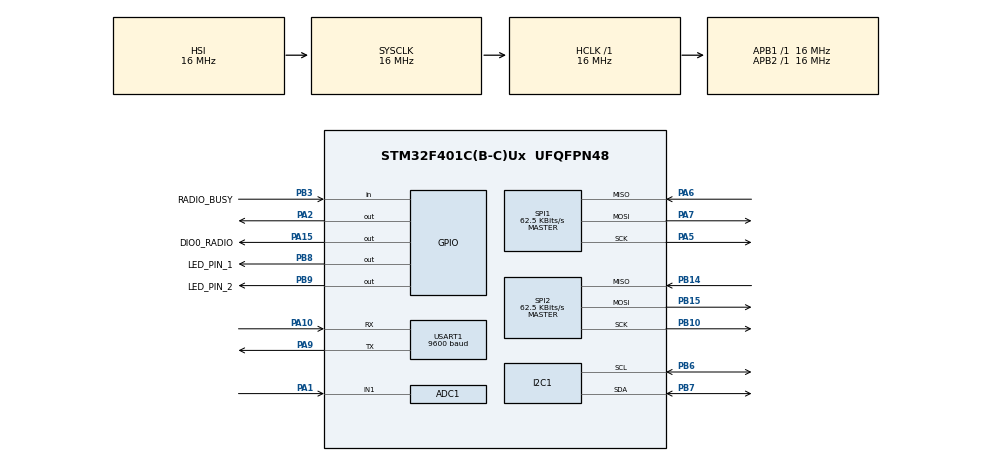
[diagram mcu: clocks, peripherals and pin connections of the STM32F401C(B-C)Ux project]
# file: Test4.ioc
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ADC1.Channel-0\#ChannelRegularConversion=ADC_CHANNEL_1
ADC1.NbrOfConversionFlag=1
ADC1.Rank-0\#ChannelRegularConversion=1
ADC1.SamplingTime-0\#ChannelRegularConversion=ADC_SAMPLETIME_3CYCLES
ADC1.master=1
Mcu.Family=STM32F4
Mcu.Name=STM32F401C(B-C)Ux
Mcu.Package=UFQFPN48
NVIC.PriorityGroup=NVIC_PRIORITYGROUP_4
PA1.Signal=ADCx_IN1
PA10.Mode=Asynchronous
PA10.Signal=USART1_RX
PA15.GPIO_Label=DIO0_RADIO
PA15.Signal=GPIO_Output
PA2.GPIO_ModeDefaultOutputPP=GPIO_MODE_OUTPUT_OD
PA2.GPIO_PuPd=GPIO_NOPULL
PA2.PinState=GPIO_PIN_SET
PA2.Signal=GPIO_Output
PA5.Mode=Full_Duplex_Master
PA5.Signal=SPI1_SCK
PA6.Mode=Full_Duplex_Master
PA6.Signal=SPI1_MISO
PA7.Mode=Full_Duplex_Master
PA7.Signal=SPI1_MOSI
PA9.Mode=Asynchronous
PA9.Signal=USART1_TX
PB10.Mode=Full_Duplex_Master
PB10.Signal=SPI2_SCK
PB14.Mode=Full_Duplex_Master
PB14.Signal=SPI2_MISO
PB15.Mode=Full_Duplex_Master
PB15.Signal=SPI2_MOSI
PB3.GPIO_Label=RADIO_BUSY
PB3.Signal=GPIO_Input
PB6.Mode=I2C
PB6.Signal=I2C1_SCL
PB7.Mode=I2C
PB7.Signal=I2C1_SDA
PB8.GPIO_Label=LED_PIN_1
PB8.Signal=GPIO_Output
PB9.GPIO_Label=LED_PIN_2
PB9.Signal=GPIO_Output
PH0\ -\ OSC_IN.Mode=HSE-External-Oscillator
PH0\ -\ OSC_IN.Signal=RCC_OSC_IN
PH1\ -\ OSC_OUT.Mode=HSE-External-Oscillator
PH1\ -\ OSC_OUT.Signal=RCC_OSC_OUT
ProjectManager.HeapSize=0x400
ProjectManager.StackSize=0x800
ProjectManager.TargetToolchain=STM32CubeIDE
RCC.AHBFreq_Value=16000000
RCC.APB1Freq_Value=16000000
RCC.APB2Freq_Value=16000000
RCC.CortexFreq_Value=16000000
RCC.HSE_VALUE=25000000
RCC.HSI_VALUE=16000000
RCC.LSE_VALUE=32768
RCC.SYSCLKFreq_VALUE=16000000
RCC.VCOOutputFreq_Value=192000000
SH.ADCx_IN1.0=ADC1_IN1,IN1
SPI1.BaudRatePrescaler=SPI_BAUDRATEPRESCALER_256
SPI1.CalculateBaudRate=62.5 KBits/s
SPI1.Direction=SPI_DIRECTION_2LINES
SPI1.Mode=SPI_MODE_MASTER
SPI1.VirtualType=VM_MASTER
SPI2.BaudRatePrescaler=SPI_BAUDRATEPRESCALER_256
SPI2.CalculateBaudRate=62.5 KBits/s
SPI2.Direction=SPI_DIRECTION_2LINES
SPI2.Mode=SPI_MODE_MASTER
SPI2.VirtualType=VM_MASTER
USART1.BaudRate=9600
USART1.VirtualMode=VM_ASYNC
VP_FATFS_VS_Generic.Mode=User_defined
board=custom

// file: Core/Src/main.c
/* USER CODE BEGIN Header */
/**
  ******************************************************************************
  * @file           : main.c
  * @brief          : Main program body
  ******************************************************************************
  */
/* USER CODE END Header */
#include "main.h"
#include "adc.h"
#include "fatfs.h"
#include "i2c.h"
#include "spi.h"
#include "usart.h"
#include "gpio.h"

/* USER CODE BEGIN Includes */
#include "serial_print.h"
#include "mcp23017.h"
#include "sd_mcp23017.h"
#include <stdio.h>
#include <string.h>
/* USER CODE END Includes */

void SystemClock_Config(void);

/* USER CODE BEGIN 0 */
void Dump_Data_CSV(void) {
    FIL file;
    FRESULT res;
    uint8_t buffer[128]; // Буфер для порционного чтения
    UINT bytesRead;

    Serial_Printf(&huart1, "\r\n--- SD DUMP START ---\r\n");

    // Открываем файл строго для чтения (FA_READ)[cite: 5]
    res = f_open(&file, "0:/data.csv", FA_READ);
    if (res == FR_OK) {
        do {
            res = f_read(&file, buffer, sizeof(buffer), &bytesRead);
            if (res == FR_OK && bytesRead > 0) {
                // Прямая передача сырых байтов в UART, защита от багов со строковыми терминаторами[cite: 5]
                HAL_UART_Transmit(&huart1, buffer, bytesRead, HAL_MAX_DELAY);
            }
        } while (res == FR_OK && bytesRead > 0);

        f_close(&file);
        Serial_Printf(&huart1, "\r\n--- SD DUMP END ---\r\n");
    } else {
        Serial_Printf(&huart1, "\r\nSD DUMP ERROR: %d\r\n", res);
    }
}
/* USER CODE END 0 */

int main(void)
{

  /* MCU Configuration--------------------------------------------------------*/

  /* Reset of all peripherals, Initializes the Flash interface and the Systick. */
  HAL_Init();

  /* Configure the system clock */
  SystemClock_Config();

  /* Initialize all configured peripherals */
  MX_GPIO_Init();
  MX_ADC1_Init();
  MX_I2C1_Init();
  MX_SPI1_Init();
  MX_SPI2_Init();
  MX_USART1_UART_Init();
  MX_FATFS_Init();
  /* USER CODE BEGIN 2 */

    // Инициализация карты (укажи свой хэндл SPI, например &hspi2)[cite: 5]
    if (SD_MCP_Init(&hspi2) == 0) {
        Serial_PrintString(DEBUG_UART, "\r\n[MAIN] SD карта готова. Начинаем чтение дампа...\r\n");

        Dump_Data_CSV(); // Запускаем выгрузку[cite: 5]

    } else {
        Serial_PrintString(DEBUG_UART, "\r\n[MAIN] Критическая ошибка инициализации SD.\r\n");
    }

    // Жестко блокируем дальнейшее выполнение программы, чтобы ничего не перезаписать[cite: 5]
    while (1) {
        HAL_GPIO_TogglePin(LED_PIN_1_GPIO_Port, LED_PIN_1_Pin);
        HAL_Delay(1000);
    }

  /* USER CODE END 2 */

  /* Infinite loop */
  while (1)
  {

  }
}

void SystemClock_Config(void)
{
  RCC_OscInitTypeDef RCC_OscInitStruct = {0};
  RCC_ClkInitTypeDef RCC_ClkInitStruct = {0};

  /** Configure the main internal regulator output voltage
  */
  __HAL_RCC_PWR_CLK_ENABLE();
  __HAL_PWR_VOLTAGESCALING_CONFIG(PWR_REGULATOR_VOLTAGE_SCALE2);

  /** Initializes the RCC Oscillators according to the specified parameters
  * in the RCC_OscInitTypeDef structure.
  */
  RCC_OscInitStruct.OscillatorType = RCC_OSCILLATORTYPE_HSI;
  RCC_OscInitStruct.HSIState = RCC_HSI_ON;
  RCC_OscInitStruct.HSICalibrationValue = RCC_HSICALIBRATION_DEFAULT;
  RCC_OscInitStruct.PLL.PLLState = RCC_PLL_NONE;
  if (HAL_RCC_OscConfig(&RCC_OscInitStruct) != HAL_OK)
  {
    Error_Handler();
  }

  /** Initializes the CPU, AHB and APB buses clocks
  */
  RCC_ClkInitStruct.ClockType = RCC_CLOCKTYPE_HCLK|RCC_CLOCKTYPE_SYSCLK
                              |RCC_CLOCKTYPE_PCLK1|RCC_CLOCKTYPE_PCLK2;
  RCC_ClkInitStruct.SYSCLKSource = RCC_SYSCLKSOURCE_HSI;
  RCC_ClkInitStruct.AHBCLKDivider = RCC_SYSCLK_DIV1;
  RCC_ClkInitStruct.APB1CLKDivider = RCC_HCLK_DIV1;
  RCC_ClkInitStruct.APB2CLKDivider = RCC_HCLK_DIV1;

  if (HAL_RCC_ClockConfig(&RCC_ClkInitStruct, FLASH_LATENCY_0) != HAL_OK)
  {
    Error_Handler();
  }
}

void Error_Handler(void)
{
  __disable_irq();
  while (1)
  {
  }
}
